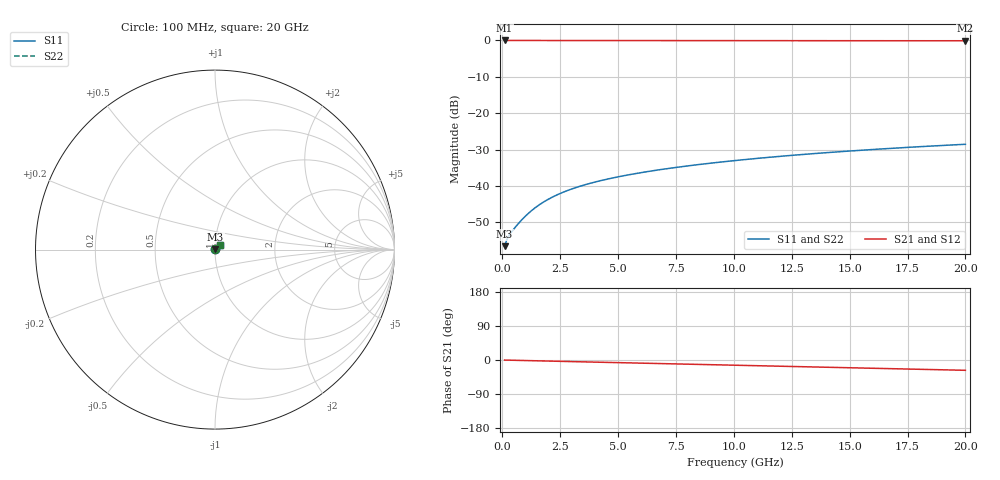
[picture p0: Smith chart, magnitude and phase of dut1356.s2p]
! Touchstone file exported from HFSS 2026.1.0
!  File:  C:/ffzhzh/LocalFiles/Ansys_Project_Files/temp_train_TMRDL_1356_1783165611_22436.aedt
!  Generated:  07:47:56 PM Jul  4, 2026
!  Design:  TMRDL
!  Project:  temp_train_TMRDL_1356_1783165611_22436
! Variables:
!  h_bsmrdl = 2um
!  h_ox = 20um
!  h_rdl = 5um
!  h_sub = 80um
!  h_tmrdl = 5.78um
!  h_tsv = 80um
!  h_via = 3um
!  l_bsmrdl = 300um
!  l_sub = 877.62um
!  l_tmrdl = 477.62um
!  m_sub = 200um
!  pitch = 33.89um
!  r_tsv = 6um
!  s_tmrdl = 10um
!  w_bsmrdl = 18um
!  w_sub = 500um
!  w_tmrdl = 26.62um
!  x_tsv_center1 = 490.93um
!  x_tsv_center2 = 808.93um
!  x_tsv_center3 = 1313.17um
!  x_tsv_center4 = 1631.17um
!  x_tsv_center5 = 2135.41um
!  x_tsv_center6 = 2453.41um
# GHz S MA R 50.000000
! Terminal data exported
! Port[1] = TM_RDL1_1_T1
! Port[2] = TM_RDL1_1_T2
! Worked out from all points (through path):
!   200 points, 100 MHz to 20 GHz, reference 50 ohm
!   highest |S21| = -0.01 dB at 100 MHz (marker M1); lowest = -0.1 dB at 20 GHz (marker M2)
!   group delay of S21, straight-line fit = 3.76 ps
!   lowest |S11| = -56.5 dB at 100 MHz (marker M3), VSWR 1.00, Z = 50.1 + j0.0607 ohm
!   |S11| at or under -10 dB: start of sweep to end of sweep
!   |S22| runs from -56.5 to -28.5 dB; largest |S21 - S12| = 4e-15
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0.1  0.001494 23.9  0.9986 -0.2  0.9986 -0.2  0.001494 23.9
! Gamma 0 0 0 0
! Port Impedance 50 0 50 0
0.2  0.001856 31.0  0.9984 -0.3  0.9984 -0.3  0.001854 30.9
0.3  0.002115 35.4  0.9982 -0.5  0.9982 -0.5  0.002112 35.3
0.5  0.002576 43.3  0.998 -0.7  0.998 -0.7  0.002572 43.3
0.7  0.003068 49.4  0.9979 -1.0  0.9979 -1.0  0.003065 49.5
0.9  0.003596 53.7  0.9978 -1.3  0.9978 -1.3  0.003594 53.8
1.1  0.004144 56.7  0.9977 -1.6  0.9977 -1.6  0.004143 56.8
1.4  0.004979 59.5  0.9975 -2.0  0.9975 -2.0  0.00498 59.5
1.8  0.00608 61.3  0.9972 -2.6  0.9972 -2.6  0.006081 61.3
2.3  0.007399 62.1  0.9968 -3.3  0.9968 -3.3  0.007401 62.1
2.9  0.008882 62.1  0.9964 -4.1  0.9964 -4.1  0.008882 62.1
3.5  0.01026 61.7  0.9959 -4.9  0.9959 -4.9  0.01026 61.7
4.2  0.01176 61.2  0.9954 -5.9  0.9954 -5.9  0.01176 61.2
4.9  0.01318 60.6  0.9949 -6.8  0.9949 -6.8  0.01318 60.6
5.8  0.01491 59.9  0.9943 -8.1  0.9943 -8.1  0.01491 59.9
6.8  0.01676 59.1  0.9937 -9.4  0.9937 -9.4  0.01676 59.1
8.3  0.01942 57.9  0.9929 -11.4  0.9929 -11.4  0.01941 58.0
10.1  0.02248 56.4  0.9921 -13.9  0.9921 -13.9  0.02247 56.4
11.7  0.02511 54.9  0.9914 -16.0  0.9914 -16.0  0.0251 55.0
13.4  0.02781 53.3  0.9908 -18.3  0.9908 -18.3  0.0278 53.4
16.7  0.0328 49.9  0.9895 -22.8  0.9895 -22.8  0.03279 50.0
20  0.03747 46.3  0.9884 -27.2  0.9884 -27.2  0.03745 46.5
